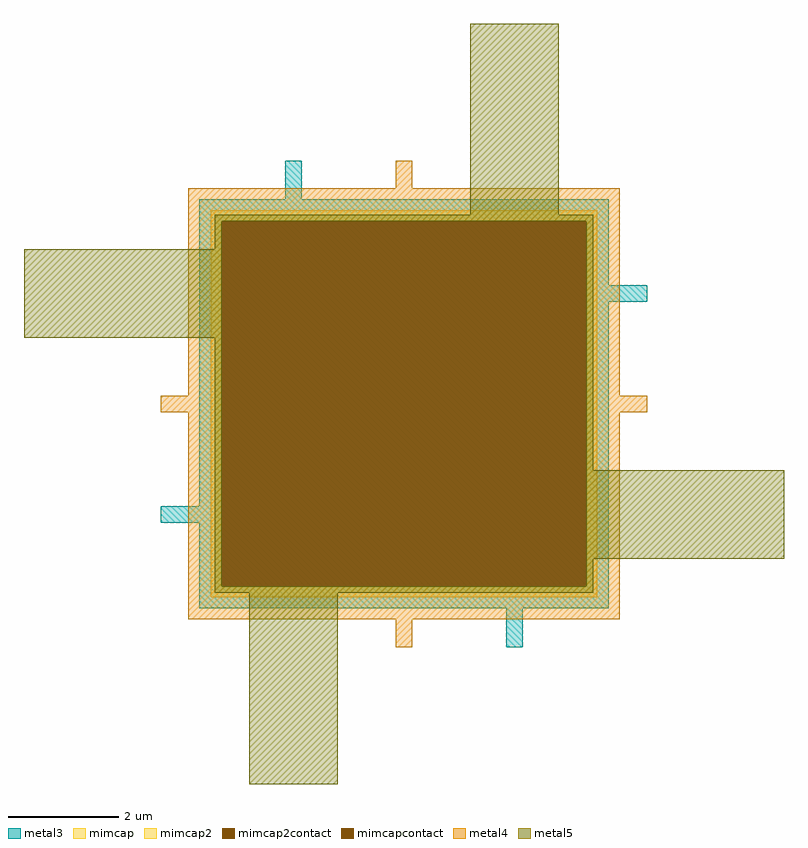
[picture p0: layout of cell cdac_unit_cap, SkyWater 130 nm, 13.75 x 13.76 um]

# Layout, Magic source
magic
tech sky130A
magscale 1 2
<< metal3 >>
rect 81341 -31712 81401 -31572
rect 81031 -32022 82511 -31712
rect 81031 -32082 82651 -32022
rect 81031 -32822 82511 -32082
rect 80891 -32882 82511 -32822
rect 81031 -33192 82511 -32882
rect 82141 -33332 82201 -33192
<< mimcap >>
rect 81071 -31792 82471 -31752
rect 81071 -33112 81111 -31792
rect 82431 -33112 82471 -31792
rect 81071 -33152 82471 -33112
<< mimcapcontact >>
rect 81111 -33112 82431 -31792
<< metal4 >>
rect 81741 -31672 81801 -31572
rect 80991 -31792 82551 -31672
rect 80991 -32422 81111 -31792
rect 80891 -32482 81111 -32422
rect 80991 -33112 81111 -32482
rect 82431 -32422 82551 -31792
rect 82431 -32482 82651 -32422
rect 82431 -33112 82551 -32482
rect 80991 -33232 82551 -33112
rect 81741 -33332 81801 -33232
<< mimcap2 >>
rect 81071 -31792 82471 -31752
rect 81071 -33112 81111 -31792
rect 82431 -33112 82471 -31792
rect 81071 -33152 82471 -33112
<< mimcap2contact >>
rect 81111 -33112 82431 -31792
<< metal5 >>
rect 82011 -31768 82331 -31077
rect 81087 -31792 82455 -31768
rect 81087 -31892 81111 -31792
rect 80396 -32212 81111 -31892
rect 81087 -33112 81111 -32212
rect 82431 -32692 82455 -31792
rect 82431 -33012 83146 -32692
rect 82431 -33112 82455 -33012
rect 81087 -33136 82455 -33112
rect 81211 -33828 81531 -33136
<< end >>
